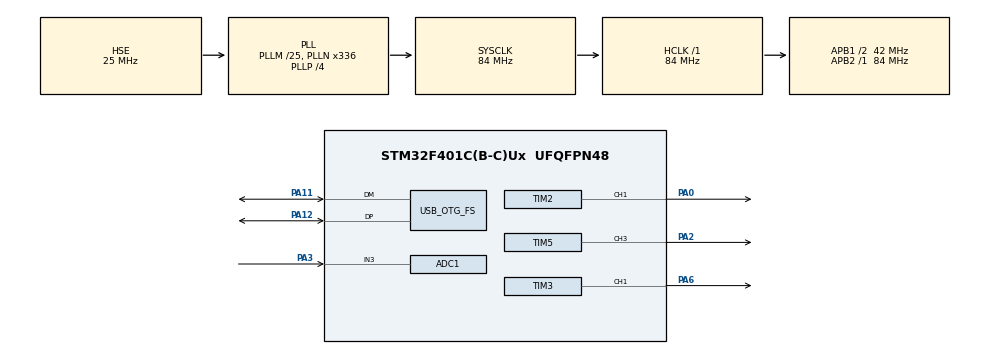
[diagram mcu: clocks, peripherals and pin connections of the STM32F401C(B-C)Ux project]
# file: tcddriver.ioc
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ADC1.Channel-0\#ChannelRegularConversion=ADC_CHANNEL_3
ADC1.DMAContinuousRequests=ENABLE
ADC1.ExternalTrigConv=ADC_EXTERNALTRIGCONV_T4_CC4
ADC1.NbrOfConversionFlag=1
ADC1.Rank-0\#ChannelRegularConversion=1
ADC1.SamplingTime-0\#ChannelRegularConversion=ADC_SAMPLETIME_3CYCLES
ADC1.master=1
Dma.ADC1.0.Direction=DMA_PERIPH_TO_MEMORY
Dma.ADC1.0.FIFOMode=DMA_FIFOMODE_DISABLE
Dma.ADC1.0.Instance=DMA2_Stream0
Dma.ADC1.0.MemDataAlignment=DMA_MDATAALIGN_HALFWORD
Dma.ADC1.0.MemInc=DMA_MINC_ENABLE
Dma.ADC1.0.Mode=DMA_NORMAL
Dma.ADC1.0.PeriphDataAlignment=DMA_PDATAALIGN_HALFWORD
Dma.ADC1.0.PeriphInc=DMA_PINC_DISABLE
Dma.ADC1.0.Priority=DMA_PRIORITY_LOW
Dma.Request0=ADC1
Mcu.Family=STM32F4
Mcu.Name=STM32F401C(B-C)Ux
Mcu.Package=UFQFPN48
NVIC.DMA2_Stream0_IRQn=true\:0\:0\:false\:false\:true\:false\:true\:true
NVIC.OTG_FS_IRQn=true\:0\:0\:false\:false\:true\:false\:true\:true
NVIC.PriorityGroup=NVIC_PRIORITYGROUP_4
PA0-WKUP.Signal=S_TIM2_CH1_ETR
PA11.Mode=Device_Only
PA11.Signal=USB_OTG_FS_DM
PA12.Mode=Device_Only
PA12.Signal=USB_OTG_FS_DP
PA2.Signal=S_TIM5_CH3
PA3.Signal=ADCx_IN3
PA6.Signal=S_TIM3_CH1
PH0\ -\ OSC_IN.Mode=HSE-External-Oscillator
PH0\ -\ OSC_IN.Signal=RCC_OSC_IN
PH1\ -\ OSC_OUT.Mode=HSE-External-Oscillator
PH1\ -\ OSC_OUT.Signal=RCC_OSC_OUT
ProjectManager.HeapSize=0x200
ProjectManager.StackSize=0x400
ProjectManager.TargetToolchain=STM32CubeIDE
RCC.48MHZClocksFreq_Value=48000000
RCC.AHBFreq_Value=84000000
RCC.APB1CLKDivider=RCC_HCLK_DIV2
RCC.APB1Freq_Value=42000000
RCC.APB1TimFreq_Value=84000000
RCC.APB2Freq_Value=84000000
RCC.APB2TimFreq_Value=84000000
RCC.CortexFreq_Value=84000000
RCC.HCLKFreq_Value=84000000
RCC.HSE_VALUE=25000000
RCC.HSI_VALUE=16000000
RCC.LSE_VALUE=32768
RCC.PLLM=25
RCC.PLLN=336
RCC.PLLP=RCC_PLLP_DIV4
RCC.PLLQ=7
RCC.SYSCLKFreq_VALUE=84000000
RCC.SYSCLKSource=RCC_SYSCLKSOURCE_PLLCLK
RCC.VCOOutputFreq_Value=336000000
SH.ADCx_IN3.0=ADC1_IN3,IN3
SH.S_TIM2_CH1_ETR.0=TIM2_CH1,PWM Generation1 CH1
SH.S_TIM3_CH1.0=TIM3_CH1,PWM Generation1 CH1
SH.S_TIM5_CH3.0=TIM5_CH3,PWM Generation3 CH3
TIM2.Channel-PWM\ Generation1\ CH1=TIM_CHANNEL_1
TIM2.Period=525000-1
TIM2.Pulse-PWM\ Generation1\ CH1=8820-1
TIM2.TIM_MasterOutputTrigger=TIM_TRGO_ENABLE
TIM2.TIM_MasterSlaveMode=TIM_MASTERSLAVEMODE_ENABLE
TIM3.Channel-PWM\ Generation1\ CH1=TIM_CHANNEL_1
TIM3.Period=168-1
TIM3.Pulse-PWM\ Generation1\ CH1=84-1
TIM4.Channel-PWM\ Generation4\ No\ Output=TIM_CHANNEL_4
TIM4.Period=168-1
TIM4.Pulse-PWM\ Generation4\ No\ Output=42-1
TIM5.Channel-PWM\ Generation3\ CH3=TIM_CHANNEL_3
TIM5.OCPolarity_3=TIM_OCPOLARITY_LOW
TIM5.Period=525000-1
TIM5.Pulse-PWM\ Generation3\ CH3=8347-1
TIM5.TIM_MasterSlaveMode=TIM_MASTERSLAVEMODE_ENABLE
USB_DEVICE.CLASS_NAME_FS=CDC
USB_DEVICE.VirtualMode=Cdc
USB_DEVICE.VirtualModeFS=Cdc_FS
USB_OTG_FS.VirtualMode=Device_Only
VP_TIM2_VS_ClockSourceINT.Mode=Internal
VP_TIM3_VS_ClockSourceINT.Mode=Internal
VP_TIM4_VS_ClockSourceINT.Mode=Internal
VP_TIM4_VS_no_output4.Mode=PWM Generation4 No Output
VP_TIM5_VS_ClockSourceINT.Mode=Internal
VP_TIM5_VS_ClockSourceITR.Mode=TriggerSource_ITR0
VP_TIM5_VS_ControllerModeTrigger.Mode=Trigger Mode
VP_USB_DEVICE_VS_USB_DEVICE_CDC_FS.Mode=CDC_FS
board=custom

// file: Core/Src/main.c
/* USER CODE BEGIN Header */
/**
  ******************************************************************************
  * @file           : main.c
  * @brief          : Main program body
  ******************************************************************************
  * @attention
  *
  * Copyright (c) 2024 STMicroelectronics.
  * All rights reserved.
  *
  * This software is licensed under terms that can be found in the LICENSE file
  * in the root directory of this software component.
  * If no LICENSE file comes with this software, it is provided AS-IS.
  *
  ******************************************************************************
  */
/* USER CODE END Header */
#include "main.h"
#include "usb_device.h"

/* USER CODE BEGIN Includes */
#include "string.h"

/* USER CODE END Includes */

/* USER CODE BEGIN PD */
#define HEADER_SIZE 200//this is just a big enough number, to accomodate all the elements, will have to calculate the exact value later
#define FOOTER_SIZE 2 //this is not really needed but just added it for uniformity
#define CCD_PIXEL_BUFFER_SIZE (6000) // Adjust as needed for header, data, and footer

/* USER CODE END PD */

ADC_HandleTypeDef hadc1;
DMA_HandleTypeDef hdma_adc1;

TIM_HandleTypeDef htim2;
TIM_HandleTypeDef htim3;
TIM_HandleTypeDef htim4;
TIM_HandleTypeDef htim5;

/* USER CODE BEGIN PV */

// Global variables for header values, these are all from the image sent
char VersionNo[4] = "DCAM";
int MajorVersion = 1;
int FileFormatNo = 0;
int CustomizationNo = 1;
int CameraType = 1;  // Assuming 1: Line scanner camera
int DataInfo[5] = {0};  // {SizeX, SizeY, DataSet, DataByte}
int MeasureMode = 1;  // Assuming 1: Line Scanning Mode
int SheetData = 0;  // Assuming 0: Image data
int Profile = 1;  // Assuming 1: Show
char ScaleUnitChars[20] = "ADU";  // Default scale unit characters

// Buffers
char header[HEADER_SIZE];
char footer[FOOTER_SIZE];

volatile uint16_t CCDPixelBuffer[CCD_PIXEL_BUFFER_SIZE];
//this is the variable to initiate the dma
volatile uint8_t start_command_received = 0;

/* USER CODE END PV */

void SystemClock_Config(void);
static void MX_GPIO_Init(void);
static void MX_DMA_Init(void);
static void MX_TIM2_Init(void);
static void MX_TIM3_Init(void);
static void MX_TIM4_Init(void);
static void MX_TIM5_Init(void);
static void MX_ADC1_Init(void);
/* USER CODE BEGIN PFP */
void IdentifySpectrum(volatile uint16_t* buffer, uint32_t buffer_size, uint16_t threshold); // dont use this for now
void encodeData(uint16_t* data_buffer, uint32_t data_size);
void InitializeHeaderFooter();
void CDCReceiveCallback(uint8_t* Buf, uint32_t Len);
void HAL_ADC_ConvCpltCallback(ADC_HandleTypeDef* hadc);
void Configure_SH_Signal(uint32_t period, uint32_t pulse);
void Configure_ICG_Signal(uint32_t period, uint32_t pulse);
void Configure_MasterClock_Signal(uint32_t period, uint32_t pulse);

/* USER CODE END PFP */

int main(void)
{

  /* USER CODE BEGIN 1 */
	//all the main implementations are after line 547 and in the main function

  /* USER CODE END 1 */

  /* MCU Configuration--------------------------------------------------------*/

  /* Reset of all peripherals, Initializes the Flash interface and the Systick. */
  HAL_Init();

  /* USER CODE BEGIN Init */
  InitializeHeaderFooter();

  /* USER CODE END Init */

  /* Configure the system clock */
  SystemClock_Config();

  /* Initialize all configured peripherals */
  MX_GPIO_Init();
  MX_DMA_Init();
  MX_TIM2_Init();
  MX_TIM3_Init();
  MX_TIM4_Init();
  MX_TIM5_Init();
  MX_USB_DEVICE_Init();
  MX_ADC1_Init();
  /* USER CODE BEGIN 2 */
  HAL_TIM_PWM_Start(&htim2, TIM_CHANNEL_1); //ICG
  __HAL_TIM_SET_COUNTER(&htim2, 66);// 600ns delay
  HAL_TIM_PWM_Start(&htim3, TIM_CHANNEL_1); //fM
  HAL_TIM_PWM_Start(&htim4, TIM_CHANNEL_4); //ADC
  HAL_TIM_PWM_Start(&htim5, TIM_CHANNEL_3); //SH

  if (!start_command_received) {
  CDC_Transmit_FS("Target Ready\r\n",14);
  HAL_Delay(1000);}

  /* USER CODE END 2 */

  /* Infinite loop */
  while (1)
  {

    /* USER CODE BEGIN 3 */
//	  HAL_ADC_Start_DMA(&hadc1, (uint32_t*) CCDPixelBuffer, CCD_PIXEL_BUFFER_SIZE);

	  if (start_command_received) {
		  //if the user sends a start string it will initiate the dma
	    HAL_ADC_Start_DMA(&hadc1, (uint32_t*)CCDPixelBuffer, CCD_PIXEL_BUFFER_SIZE);
	  }

  }
  /* USER CODE END 3 */
}

void SystemClock_Config(void)
{
  RCC_OscInitTypeDef RCC_OscInitStruct = {0};
  RCC_ClkInitTypeDef RCC_ClkInitStruct = {0};

  /** Configure the main internal regulator output voltage
  */
  __HAL_RCC_PWR_CLK_ENABLE();
  __HAL_PWR_VOLTAGESCALING_CONFIG(PWR_REGULATOR_VOLTAGE_SCALE2);

  /** Initializes the RCC Oscillators according to the specified parameters
  * in the RCC_OscInitTypeDef structure.
  */
  RCC_OscInitStruct.OscillatorType = RCC_OSCILLATORTYPE_HSE;
  RCC_OscInitStruct.HSEState = RCC_HSE_ON;
  RCC_OscInitStruct.PLL.PLLState = RCC_PLL_ON;
  RCC_OscInitStruct.PLL.PLLSource = RCC_PLLSOURCE_HSE;
  RCC_OscInitStruct.PLL.PLLM = 25;
  RCC_OscInitStruct.PLL.PLLN = 336;
  RCC_OscInitStruct.PLL.PLLP = RCC_PLLP_DIV4;
  RCC_OscInitStruct.PLL.PLLQ = 7;
  if (HAL_RCC_OscConfig(&RCC_OscInitStruct) != HAL_OK)
  {
    Error_Handler();
  }

  /** Initializes the CPU, AHB and APB buses clocks
  */
  RCC_ClkInitStruct.ClockType = RCC_CLOCKTYPE_HCLK|RCC_CLOCKTYPE_SYSCLK
                              |RCC_CLOCKTYPE_PCLK1|RCC_CLOCKTYPE_PCLK2;
  RCC_ClkInitStruct.SYSCLKSource = RCC_SYSCLKSOURCE_PLLCLK;
  RCC_ClkInitStruct.AHBCLKDivider = RCC_SYSCLK_DIV1;
  RCC_ClkInitStruct.APB1CLKDivider = RCC_HCLK_DIV2;
  RCC_ClkInitStruct.APB2CLKDivider = RCC_HCLK_DIV1;

  if (HAL_RCC_ClockConfig(&RCC_ClkInitStruct, FLASH_LATENCY_2) != HAL_OK)
  {
    Error_Handler();
  }
}

static void MX_ADC1_Init(void)
{

  ADC_ChannelConfTypeDef sConfig = {0};

  /** Configure the global features of the ADC (Clock, Resolution, Data Alignment and number of conversion)
  */
  hadc1.Instance = ADC1;
  hadc1.Init.ClockPrescaler = ADC_CLOCK_SYNC_PCLK_DIV4;
  hadc1.Init.Resolution = ADC_RESOLUTION_12B;
  hadc1.Init.ScanConvMode = DISABLE;
  hadc1.Init.ContinuousConvMode = DISABLE;
  hadc1.Init.DiscontinuousConvMode = DISABLE;
  hadc1.Init.ExternalTrigConvEdge = ADC_EXTERNALTRIGCONVEDGE_RISING;
  hadc1.Init.ExternalTrigConv = ADC_EXTERNALTRIGCONV_T4_CC4;
  hadc1.Init.DataAlign = ADC_DATAALIGN_RIGHT;
  hadc1.Init.NbrOfConversion = 1;
  hadc1.Init.DMAContinuousRequests = ENABLE;
  hadc1.Init.EOCSelection = ADC_EOC_SINGLE_CONV;
  if (HAL_ADC_Init(&hadc1) != HAL_OK)
  {
    Error_Handler();
  }

  /** Configure for the selected ADC regular channel its corresponding rank in the sequencer and its sample time.
  */
  sConfig.Channel = ADC_CHANNEL_3;
  sConfig.Rank = 1;
  sConfig.SamplingTime = ADC_SAMPLETIME_3CYCLES;
  if (HAL_ADC_ConfigChannel(&hadc1, &sConfig) != HAL_OK)
  {
    Error_Handler();
  }

}

static void MX_TIM2_Init(void)
{

  TIM_ClockConfigTypeDef sClockSourceConfig = {0};
  TIM_MasterConfigTypeDef sMasterConfig = {0};
  TIM_OC_InitTypeDef sConfigOC = {0};

  htim2.Instance = TIM2;
  htim2.Init.Prescaler = 0;
  htim2.Init.CounterMode = TIM_COUNTERMODE_UP;
  htim2.Init.Period = 525000-1;
  htim2.Init.ClockDivision = TIM_CLOCKDIVISION_DIV1;
  htim2.Init.AutoReloadPreload = TIM_AUTORELOAD_PRELOAD_DISABLE;
  if (HAL_TIM_Base_Init(&htim2) != HAL_OK)
  {
    Error_Handler();
  }
  sClockSourceConfig.ClockSource = TIM_CLOCKSOURCE_INTERNAL;
  if (HAL_TIM_ConfigClockSource(&htim2, &sClockSourceConfig) != HAL_OK)
  {
    Error_Handler();
  }
  if (HAL_TIM_PWM_Init(&htim2) != HAL_OK)
  {
    Error_Handler();
  }
  sMasterConfig.MasterOutputTrigger = TIM_TRGO_ENABLE;
  sMasterConfig.MasterSlaveMode = TIM_MASTERSLAVEMODE_ENABLE;
  if (HAL_TIMEx_MasterConfigSynchronization(&htim2, &sMasterConfig) != HAL_OK)
  {
    Error_Handler();
  }
  sConfigOC.OCMode = TIM_OCMODE_PWM1;
  sConfigOC.Pulse = 8820-1;
  sConfigOC.OCPolarity = TIM_OCPOLARITY_HIGH;
  sConfigOC.OCFastMode = TIM_OCFAST_DISABLE;
  if (HAL_TIM_PWM_ConfigChannel(&htim2, &sConfigOC, TIM_CHANNEL_1) != HAL_OK)
  {
    Error_Handler();
  }
  HAL_TIM_MspPostInit(&htim2);

}

static void MX_TIM3_Init(void)
{

  TIM_ClockConfigTypeDef sClockSourceConfig = {0};
  TIM_MasterConfigTypeDef sMasterConfig = {0};
  TIM_OC_InitTypeDef sConfigOC = {0};

  htim3.Instance = TIM3;
  htim3.Init.Prescaler = 0;
  htim3.Init.CounterMode = TIM_COUNTERMODE_UP;
  htim3.Init.Period = 168-1;
  htim3.Init.ClockDivision = TIM_CLOCKDIVISION_DIV1;
  htim3.Init.AutoReloadPreload = TIM_AUTORELOAD_PRELOAD_DISABLE;
  if (HAL_TIM_Base_Init(&htim3) != HAL_OK)
  {
    Error_Handler();
  }
  sClockSourceConfig.ClockSource = TIM_CLOCKSOURCE_INTERNAL;
  if (HAL_TIM_ConfigClockSource(&htim3, &sClockSourceConfig) != HAL_OK)
  {
    Error_Handler();
  }
  if (HAL_TIM_PWM_Init(&htim3) != HAL_OK)
  {
    Error_Handler();
  }
  sMasterConfig.MasterOutputTrigger = TIM_TRGO_RESET;
  sMasterConfig.MasterSlaveMode = TIM_MASTERSLAVEMODE_DISABLE;
  if (HAL_TIMEx_MasterConfigSynchronization(&htim3, &sMasterConfig) != HAL_OK)
  {
    Error_Handler();
  }
  sConfigOC.OCMode = TIM_OCMODE_PWM1;
  sConfigOC.Pulse = 84-1;
  sConfigOC.OCPolarity = TIM_OCPOLARITY_HIGH;
  sConfigOC.OCFastMode = TIM_OCFAST_DISABLE;
  if (HAL_TIM_PWM_ConfigChannel(&htim3, &sConfigOC, TIM_CHANNEL_1) != HAL_OK)
  {
    Error_Handler();
  }
  HAL_TIM_MspPostInit(&htim3);

}

static void MX_TIM4_Init(void)
{

  TIM_ClockConfigTypeDef sClockSourceConfig = {0};
  TIM_MasterConfigTypeDef sMasterConfig = {0};
  TIM_OC_InitTypeDef sConfigOC = {0};

  htim4.Instance = TIM4;
  htim4.Init.Prescaler = 0;
  htim4.Init.CounterMode = TIM_COUNTERMODE_UP;
  htim4.Init.Period = 336-1;
  htim4.Init.ClockDivision = TIM_CLOCKDIVISION_DIV1;
  htim4.Init.AutoReloadPreload = TIM_AUTORELOAD_PRELOAD_DISABLE;
  if (HAL_TIM_Base_Init(&htim4) != HAL_OK)
  {
    Error_Handler();
  }
  sClockSourceConfig.ClockSource = TIM_CLOCKSOURCE_INTERNAL;
  if (HAL_TIM_ConfigClockSource(&htim4, &sClockSourceConfig) != HAL_OK)
  {
    Error_Handler();
  }
  if (HAL_TIM_PWM_Init(&htim4) != HAL_OK)
  {
    Error_Handler();
  }
  sMasterConfig.MasterOutputTrigger = TIM_TRGO_RESET;
  sMasterConfig.MasterSlaveMode = TIM_MASTERSLAVEMODE_DISABLE;
  if (HAL_TIMEx_MasterConfigSynchronization(&htim4, &sMasterConfig) != HAL_OK)
  {
    Error_Handler();
  }
  sConfigOC.OCMode = TIM_OCMODE_PWM1;
  sConfigOC.Pulse = 168-1;
  sConfigOC.OCPolarity = TIM_OCPOLARITY_HIGH;
  sConfigOC.OCFastMode = TIM_OCFAST_DISABLE;
  if (HAL_TIM_PWM_ConfigChannel(&htim4, &sConfigOC, TIM_CHANNEL_4) != HAL_OK)
  {
    Error_Handler();
  }

}

static void MX_TIM5_Init(void)
{

  TIM_ClockConfigTypeDef sClockSourceConfig = {0};
  TIM_SlaveConfigTypeDef sSlaveConfig = {0};
  TIM_MasterConfigTypeDef sMasterConfig = {0};
  TIM_OC_InitTypeDef sConfigOC = {0};

  htim5.Instance = TIM5;
  htim5.Init.Prescaler = 0;
  htim5.Init.CounterMode = TIM_COUNTERMODE_UP;
  htim5.Init.Period = 525000-1;
  htim5.Init.ClockDivision = TIM_CLOCKDIVISION_DIV1;
  htim5.Init.AutoReloadPreload = TIM_AUTORELOAD_PRELOAD_DISABLE;
  if (HAL_TIM_Base_Init(&htim5) != HAL_OK)
  {
    Error_Handler();
  }
  sClockSourceConfig.ClockSource = TIM_CLOCKSOURCE_INTERNAL;
  if (HAL_TIM_ConfigClockSource(&htim5, &sClockSourceConfig) != HAL_OK)
  {
    Error_Handler();
  }
  if (HAL_TIM_PWM_Init(&htim5) != HAL_OK)
  {
    Error_Handler();
  }
  sSlaveConfig.SlaveMode = TIM_SLAVEMODE_TRIGGER;
  sSlaveConfig.InputTrigger = TIM_TS_ITR0;
  if (HAL_TIM_SlaveConfigSynchro(&htim5, &sSlaveConfig) != HAL_OK)
  {
    Error_Handler();
  }
  sMasterConfig.MasterOutputTrigger = TIM_TRGO_RESET;
  sMasterConfig.MasterSlaveMode = TIM_MASTERSLAVEMODE_ENABLE;
  if (HAL_TIMEx_MasterConfigSynchronization(&htim5, &sMasterConfig) != HAL_OK)
  {
    Error_Handler();
  }
  sConfigOC.OCMode = TIM_OCMODE_PWM1;
  sConfigOC.Pulse = 8347-1;
  sConfigOC.OCPolarity = TIM_OCPOLARITY_LOW;
  sConfigOC.OCFastMode = TIM_OCFAST_DISABLE;
  if (HAL_TIM_PWM_ConfigChannel(&htim5, &sConfigOC, TIM_CHANNEL_3) != HAL_OK)
  {
    Error_Handler();
  }
  HAL_TIM_MspPostInit(&htim5);

}

static void MX_DMA_Init(void)
{

  /* DMA controller clock enable */
  __HAL_RCC_DMA2_CLK_ENABLE();

  /* DMA interrupt init */
  /* DMA2_Stream0_IRQn interrupt configuration */
  HAL_NVIC_SetPriority(DMA2_Stream0_IRQn, 0, 0);
  HAL_NVIC_EnableIRQ(DMA2_Stream0_IRQn);

}

static void MX_GPIO_Init(void)
{

  /* GPIO Ports Clock Enable */
  __HAL_RCC_GPIOH_CLK_ENABLE();
  __HAL_RCC_GPIOA_CLK_ENABLE();

}

/* USER CODE BEGIN 4 */
void HAL_ADC_ConvCpltCallback(ADC_HandleTypeDef* hadc)
{
HAL_ADC_Stop_DMA(&hadc1); //stop the dma
encodeData(CCDPixelBuffer,CCD_PIXEL_BUFFER_SIZE);
//CDC_Transmit_FS((uint8_t*)header,strlen(header));
CDC_Transmit_FS((uint8_t*) CCDPixelBuffer, CCD_PIXEL_BUFFER_SIZE);
//CDC_Transmit_FS((uint8_t*)footer, strlen(footer));
//IdentifySpectrum(CCDPixelBuffer, CCD_PIXEL_BUFFER_SIZE, 3100);// the last value is the threshold
start_command_received = 0; // Set the flag
}

//when the stm receives anything, it checks if it is the string start
void CDCReceiveCallback(uint8_t* Buf, uint32_t Len) {
    // Ensure the buffer is null-terminated
    Buf[Len] = '\0';

    // Check for the "start" command
    if (Len >= 5 && strncmp((char*)Buf, "start", 5) == 0) {
        start_command_received = 1; // Set the flag
    } else {
        // Parse the command
        char *command = strtok((char*)Buf, ":");
        char *param_str = strtok(NULL, ":");

        if (command && param_str) {
            uint32_t param = atoi(param_str);

            if (strcmp(command, "SH") == 0) {
                char *pulse_str = strtok(NULL, ":");
                if (pulse_str) {
                    uint32_t pulse = atoi(pulse_str);
                    Configure_SH_Signal(param, pulse);
                }
            } else if (strcmp(command, "ICG") == 0) {
                char *pulse_str = strtok(NULL, ":");
                if (pulse_str) {
                    uint32_t pulse = atoi(pulse_str);
                    Configure_ICG_Signal(param, pulse);
                }
            } else if (strcmp(command, "MC") == 0) {  // Assuming MC for Master Clock
                char *pulse_str = strtok(NULL, ":");
                if (pulse_str) {
                    uint32_t pulse = atoi(pulse_str);
                    Configure_MasterClock_Signal(param, pulse);
                }
            } else if (strcmp(command, "IT") == 0) {
                CalculateAndSetIntegrationTime(param);
            }
        }
    }
}

void CalculateAndSetIntegrationTime(uint32_t integration_time_us) {
    // Calculate the SH period (T_SH) in timer ticks
    uint32_t T_SH_ticks = (84 * integration_time_us) - 1;  // Convert microseconds to timer ticks

    // Minimum SH pulse width is 1 µs, which translates to 84 timer ticks at 84 MHz
    uint32_t SH_pulse_ticks = 84 - 1;

    // Configure the SH signal with the calculated period and pulse width
    Configure_SH_Signal(T_SH_ticks, SH_pulse_ticks);
}

void InitializeHeaderFooter(void) {
    // Construct the header
    snprintf(header, HEADER_SIZE,
        "Version: %s\nMajor: %d\nFileFormat: %d\nCustomization: %d\nCameraType: %d\n"
        "SizeX: %d\nSizeY: %d\nDataSet: %d\nDataByte: %d\nMeasureMode: %d\nSheetData: %d\n"
        "Profile: %d\nScaleUnit: %s\n",
        VersionNo, MajorVersion, FileFormatNo, CustomizationNo, CameraType,
        DataInfo[0], DataInfo[1], DataInfo[2], DataInfo[3],
        MeasureMode, SheetData, Profile, ScaleUnitChars);

    // Construct the footer (this example just uses a simple footer, customize as needed)
    snprintf(footer, FOOTER_SIZE, "\n");
}

// Function to shift data and add header and footer
void encodeData(uint16_t* data_buffer, uint32_t data_size) {

	// Copy the header to the start of the buffer
	    memcpy((void*)CCDPixelBuffer, (const void*)header, HEADER_SIZE);

	    // Copy the footer to the end of the data
	    memcpy((void*)&CCDPixelBuffer[CCD_PIXEL_BUFFER_SIZE - FOOTER_SIZE], (const void*)footer, FOOTER_SIZE);
}

void Configure_SH_Signal(uint32_t period, uint32_t pulse) {
	HAL_TIM_PWM_Stop(&htim5, TIM_CHANNEL_3);
	HAL_TIM_PWM_Stop(&htim2, TIM_CHANNEL_1);
	HAL_TIM_PWM_Stop(&htim3, TIM_CHANNEL_1);
    TIM_OC_InitTypeDef sConfigOC = {0};

    htim5.Init.Prescaler = 1-1;
    htim5.Init.CounterMode = TIM_COUNTERMODE_UP;
    htim5.Init.Period = period-1;
    htim5.Init.ClockDivision = TIM_CLOCKDIVISION_DIV1;
    htim5.Init.AutoReloadPreload = TIM_AUTORELOAD_PRELOAD_DISABLE;
    if (HAL_TIM_PWM_Init(&htim5) != HAL_OK) {
        // Initialization Error
        Error_Handler();
    }

    sConfigOC.OCMode = TIM_OCMODE_PWM1;
    sConfigOC.Pulse = pulse;
    sConfigOC.OCPolarity = TIM_OCPOLARITY_HIGH;
    sConfigOC.OCFastMode = TIM_OCFAST_DISABLE;
    if (HAL_TIM_PWM_ConfigChannel(&htim5, &sConfigOC, TIM_CHANNEL_3) != HAL_OK) {
        // Configuration Error
        Error_Handler();
    }

    HAL_TIM_PWM_Start(&htim2, TIM_CHANNEL_1); //ICG
    __HAL_TIM_SET_COUNTER(&htim2, 66);// 600ns delay
    HAL_TIM_PWM_Start(&htim3, TIM_CHANNEL_1); //fM
    HAL_TIM_PWM_Start(&htim5, TIM_CHANNEL_3); //SH
}

void Configure_ICG_Signal(uint32_t period, uint32_t pulse) {
	HAL_TIM_PWM_Stop(&htim5, TIM_CHANNEL_3);
	HAL_TIM_PWM_Stop(&htim2, TIM_CHANNEL_1);
	HAL_TIM_PWM_Stop(&htim3, TIM_CHANNEL_1);
    TIM_OC_InitTypeDef sConfigOC = {0};

    htim2.Init.Prescaler = 1-1;
    htim2.Init.CounterMode = TIM_COUNTERMODE_UP;
    htim2.Init.Period = period-1;
    htim2.Init.ClockDivision = TIM_CLOCKDIVISION_DIV1;
    htim2.Init.AutoReloadPreload = TIM_AUTORELOAD_PRELOAD_DISABLE;
    if (HAL_TIM_PWM_Init(&htim2) != HAL_OK) {
        // Initialization Error
        Error_Handler();
    }

    sConfigOC.OCMode = TIM_OCMODE_PWM1;
    sConfigOC.Pulse = pulse;
    sConfigOC.OCPolarity = TIM_OCPOLARITY_HIGH;
    sConfigOC.OCFastMode = TIM_OCFAST_DISABLE;
    if (HAL_TIM_PWM_ConfigChannel(&htim2, &sConfigOC, TIM_CHANNEL_1) != HAL_OK) {
        // Configuration Error
        Error_Handler();
    }

    HAL_TIM_PWM_Start(&htim2, TIM_CHANNEL_1); //ICG
    __HAL_TIM_SET_COUNTER(&htim2, 66);// 600ns delay
    HAL_TIM_PWM_Start(&htim3, TIM_CHANNEL_1); //fM
    HAL_TIM_PWM_Start(&htim5, TIM_CHANNEL_3); //SH
}

void Configure_MasterClock_Signal(uint32_t period, uint32_t pulse) {
	HAL_TIM_PWM_Stop(&htim5, TIM_CHANNEL_3);
	HAL_TIM_PWM_Stop(&htim2, TIM_CHANNEL_1);
	HAL_TIM_PWM_Stop(&htim3, TIM_CHANNEL_1);
    TIM_OC_InitTypeDef sConfigOC = {0};

    htim3.Init.Prescaler = 1-1;
    htim3.Init.CounterMode = TIM_COUNTERMODE_UP;
    htim3.Init.Period = period-1;
    htim3.Init.ClockDivision = TIM_CLOCKDIVISION_DIV1;
    htim3.Init.AutoReloadPreload = TIM_AUTORELOAD_PRELOAD_DISABLE;
    if (HAL_TIM_PWM_Init(&htim3) != HAL_OK) {
        // Initialization Error
        Error_Handler();
    }

    sConfigOC.OCMode = TIM_OCMODE_PWM1;
    sConfigOC.Pulse = pulse;
    sConfigOC.OCPolarity = TIM_OCPOLARITY_HIGH;
    sConfigOC.OCFastMode = TIM_OCFAST_DISABLE;
    if (HAL_TIM_PWM_ConfigChannel(&htim3, &sConfigOC, TIM_CHANNEL_1) != HAL_OK) {
        // Configuration Error
        Error_Handler();
    }

    HAL_TIM_PWM_Start(&htim2, TIM_CHANNEL_1); //ICG
    __HAL_TIM_SET_COUNTER(&htim2, 66);// 600ns delay
    HAL_TIM_PWM_Start(&htim3, TIM_CHANNEL_1); //fM
    HAL_TIM_PWM_Start(&htim5, TIM_CHANNEL_3); //SH
}
// the below code was an attempt to identify the single spectra itself however needs to be tested
//void IdentifySpectrum(volatile uint16_t* buffer, uint32_t buffer_size, uint16_t threshold) {
//    uint32_t spectrum_start_index = 0;
//    uint32_t spectrum_end_index = 0;
//    uint8_t spectrum_found = 0;
//
//    // Iterate through the buffer to find the start and end of a valid spectrum
//    for (uint32_t i = 0; i < buffer_size - 1; i += 2) {
//        // Combine two consecutive half-words to form one value
//        uint16_t pixel_value = (buffer[i] | (buffer[i + 1] << 8));
//
//        if (!spectrum_found) {
//            // start of the spectrum
//            if (pixel_value > threshold) {
//                spectrum_start_index = i;
//                spectrum_found = 1;
//                i += 100; // skip a few values so that it just doesnt take the same dummy pixel
//            }
//        } else {
//            // end of the spectrum
//            if (pixel_value > threshold) {
//                spectrum_end_index = i + 2; // End index just after the threshold
//                break; // Exit the loop once the end is found
//            }
//        }
//    }
//
//    // Ensure the spectrum does not exceed the buffer size
//    if (spectrum_end_index > buffer_size) {
//        spectrum_end_index = buffer_size;
//    }
//
//    // Calculate the length of the spectrum
//    uint32_t spectrum_length = spectrum_end_index - spectrum_start_index;
//
//    // Transmit the identified spectrum
//    if (spectrum_length > 0) {
//        CDC_Transmit_FS((uint8_t*)&buffer[spectrum_start_index], spectrum_length);
//    }
//}

/* USER CODE END 4 */

void Error_Handler(void)
{
  __disable_irq();
  while (1)
  {
  }
}
